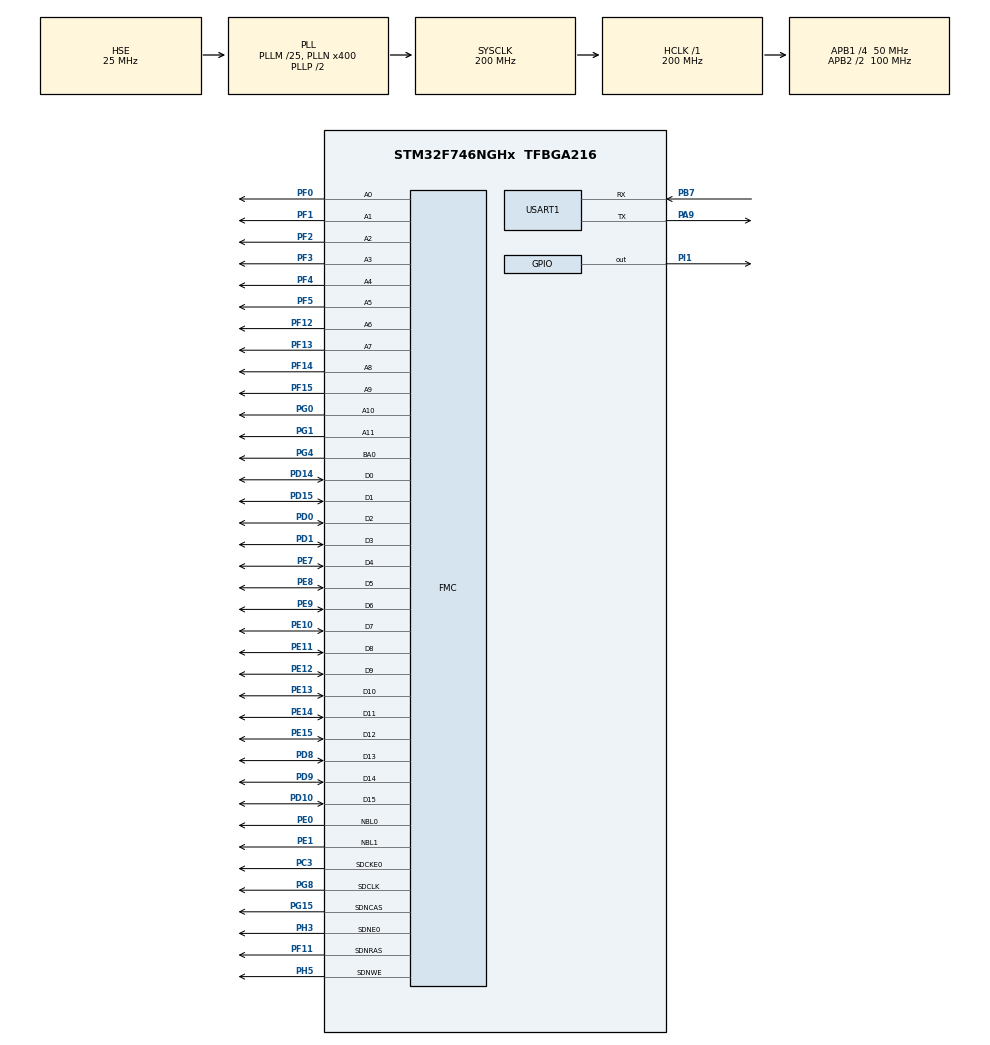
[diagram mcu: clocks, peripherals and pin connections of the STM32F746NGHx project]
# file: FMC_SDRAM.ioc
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CORTEX_M7.AccessPermission-Cortex_Memory_Protection_Unit_Region0_Settings=MPU_REGION_FULL_ACCESS
CORTEX_M7.BaseAddress-Cortex_Memory_Protection_Unit_Region0_Settings=0x20010000
CORTEX_M7.CPU_DCache=Enabled
CORTEX_M7.CPU_ICache=Enabled
CORTEX_M7.Enable-Cortex_Memory_Protection_Unit_Region0_Settings=MPU_REGION_ENABLE
CORTEX_M7.IsCacheable-Cortex_Memory_Protection_Unit_Region0_Settings=MPU_ACCESS_CACHEABLE
CORTEX_M7.MPU_Control=MPU_PRIVILEGED_DEFAULT
CORTEX_M7.Size-Cortex_Memory_Protection_Unit_Region0_Settings=MPU_REGION_SIZE_256B
FMC.CASLatency1=FMC_SDRAM_CAS_LATENCY_2
FMC.ExitSelfRefreshDelay1=6
FMC.LoadToActiveDelay1=2
FMC.RCDDelay1=2
FMC.RPDelay1=2
FMC.RPDelay2=2
FMC.ReadBurst1=FMC_SDRAM_RBURST_ENABLE
FMC.ReadBurst2=FMC_SDRAM_RBURST_ENABLE
FMC.RowCycleDelay1=6
FMC.RowCycleDelay2=6
FMC.SDClockPeriod1=FMC_SDRAM_CLOCK_PERIOD_2
FMC.SDClockPeriod2=FMC_SDRAM_CLOCK_PERIOD_2
FMC.SelfRefreshTime1=4
FMC.WriteRecoveryTime1=2
Mcu.Family=STM32F7
Mcu.Name=STM32F746NGHx
Mcu.Package=TFBGA216
NVIC.PriorityGroup=NVIC_PRIORITYGROUP_4
PA13.Mode=Serial_Wire
PA13.Signal=SYS_JTMS-SWDIO
PA14.Mode=Serial_Wire
PA14.Signal=SYS_JTCK-SWCLK
PA9.Mode=Asynchronous
PA9.Signal=USART1_TX
PB7.Mode=Asynchronous
PB7.Signal=USART1_RX
PC3.Mode=SdramChipSelect1_1
PC3.Signal=FMC_SDCKE0
PD0.Signal=FMC_D2_DA2
PD1.Signal=FMC_D3_DA3
PD10.Signal=FMC_D15_DA15
PD14.Signal=FMC_D0_DA0
PD15.Signal=FMC_D1_DA1
PD8.Signal=FMC_D13_DA13
PD9.Signal=FMC_D14_DA14
PE0.Signal=FMC_NBL0
PE1.Signal=FMC_NBL1
PE10.Signal=FMC_D7_DA7
PE11.Signal=FMC_D8_DA8
PE12.Signal=FMC_D9_DA9
PE13.Signal=FMC_D10_DA10
PE14.Signal=FMC_D11_DA11
PE15.Signal=FMC_D12_DA12
PE7.Signal=FMC_D4_DA4
PE8.Signal=FMC_D5_DA5
PE9.Signal=FMC_D6_DA6
PF0.Signal=FMC_A0
PF1.Signal=FMC_A1
PF11.Signal=FMC_SDNRAS
PF12.Signal=FMC_A6
PF13.Signal=FMC_A7
PF14.Signal=FMC_A8
PF15.Signal=FMC_A9
PF2.Signal=FMC_A2
PF3.Signal=FMC_A3
PF4.Signal=FMC_A4
PF5.Signal=FMC_A5
PG0.Signal=FMC_A10
PG1.Signal=FMC_A11
PG15.Signal=FMC_SDNCAS
PG4.Signal=FMC_A14_BA0
PG8.Signal=FMC_SDCLK
PH0/OSC_IN.Mode=HSE-External-Oscillator
PH0/OSC_IN.Signal=RCC_OSC_IN
PH1/OSC_OUT.Mode=HSE-External-Oscillator
PH1/OSC_OUT.Signal=RCC_OSC_OUT
PH3.Mode=SdramChipSelect1_1
PH3.Signal=FMC_SDNE0
PH5.Signal=FMC_SDNWE
PI1.Signal=GPIO_Output
ProjectManager.HeapSize=0x2000
ProjectManager.StackSize=0x4000
ProjectManager.TargetToolchain=MDK-ARM V5
RCC.AHBFreq_Value=200000000
RCC.APB1CLKDivider=RCC_HCLK_DIV4
RCC.APB1Freq_Value=50000000
RCC.APB1TimFreq_Value=100000000
RCC.APB2CLKDivider=RCC_HCLK_DIV2
RCC.APB2Freq_Value=100000000
RCC.APB2TimFreq_Value=200000000
RCC.CortexFreq_Value=200000000
RCC.HCLKFreq_Value=200000000
RCC.HSE_VALUE=25000000
RCC.HSI_VALUE=16000000
RCC.PLL48CLockSelection=RCC_CLK48SOURCE_PLLSAIP
RCC.PLLI2SN=100
RCC.PLLM=25
RCC.PLLN=400
RCC.PLLQ=9
RCC.PLLSAIN=384
RCC.PLLSAIP=RCC_PLLSAIP_DIV8
RCC.PLLSAIR=5
RCC.PLLSAIRDiv=RCC_PLLSAIDIVR_8
RCC.PLLSourceVirtual=RCC_PLLSOURCE_HSE
RCC.SDMMCClockSelection=RCC_SDMMC1CLKSOURCE_CLK48
RCC.SYSCLKFreq_VALUE=200000000
RCC.SYSCLKSource=RCC_SYSCLKSOURCE_PLLCLK
RCC.USBFreq_Value=48000000
RCC.VCOOutputFreq_Value=400000000
SH.FMC_A0.0=FMC_A0,12b-sda1
SH.FMC_A1.0=FMC_A1,12b-sda1
SH.FMC_A10.0=FMC_A10,12b-sda1
SH.FMC_A11.0=FMC_A11,12b-sda1
SH.FMC_A14_BA0.0=FMC_BA0,TwoSdramBanks1
SH.FMC_A2.0=FMC_A2,12b-sda1
SH.FMC_A3.0=FMC_A3,12b-sda1
SH.FMC_A4.0=FMC_A4,12b-sda1
SH.FMC_A5.0=FMC_A5,12b-sda1
SH.FMC_A6.0=FMC_A6,12b-sda1
SH.FMC_A7.0=FMC_A7,12b-sda1
SH.FMC_A8.0=FMC_A8,12b-sda1
SH.FMC_A9.0=FMC_A9,12b-sda1
SH.FMC_D0_DA0.0=FMC_D0,sd-16b-d1
SH.FMC_D10_DA10.0=FMC_D10,sd-16b-d1
SH.FMC_D11_DA11.0=FMC_D11,sd-16b-d1
SH.FMC_D12_DA12.0=FMC_D12,sd-16b-d1
SH.FMC_D13_DA13.0=FMC_D13,sd-16b-d1
SH.FMC_D14_DA14.0=FMC_D14,sd-16b-d1
SH.FMC_D15_DA15.0=FMC_D15,sd-16b-d1
SH.FMC_D1_DA1.0=FMC_D1,sd-16b-d1
SH.FMC_D2_DA2.0=FMC_D2,sd-16b-d1
SH.FMC_D3_DA3.0=FMC_D3,sd-16b-d1
SH.FMC_D4_DA4.0=FMC_D4,sd-16b-d1
SH.FMC_D5_DA5.0=FMC_D5,sd-16b-d1
SH.FMC_D6_DA6.0=FMC_D6,sd-16b-d1
SH.FMC_D7_DA7.0=FMC_D7,sd-16b-d1
SH.FMC_D8_DA8.0=FMC_D8,sd-16b-d1
SH.FMC_D9_DA9.0=FMC_D9,sd-16b-d1
SH.FMC_NBL0.0=FMC_NBL0,Sd2ByteEnable1
SH.FMC_NBL1.0=FMC_NBL1,Sd2ByteEnable1
SH.FMC_SDCLK.0=FMC_SDCLK,12b-sda1
SH.FMC_SDNCAS.0=FMC_SDNCAS,12b-sda1
SH.FMC_SDNRAS.0=FMC_SDNRAS,12b-sda1
SH.FMC_SDNWE.0=FMC_SDNWE,12b-sda1
USART1.VirtualMode-Asynchronous=VM_ASYNC
board=32F746GDISCOVERY

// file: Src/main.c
/**
  ******************************************************************************
  * @file           : main.c
  * @brief          : Main program body
  ******************************************************************************
  ** This notice applies to any and all portions of this file
  * that are not between comment pairs USER CODE BEGIN and
  * USER CODE END. Other portions of this file, whether
  * inserted by the user or by software development tools
  * are owned by their respective copyright owners.
  *
  * COPYRIGHT(c) 2018 STMicroelectronics
  *
  * Redistribution and use in source and binary forms, with or without modification,
  * are permitted provided that the following conditions are met:
  *   1. Redistributions of source code must retain the above copyright notice,
  *      this list of conditions and the following disclaimer.
  *   2. Redistributions in binary form must reproduce the above copyright notice,
  *      this list of conditions and the following disclaimer in the documentation
  *      and/or other materials provided with the distribution.
  *   3. Neither the name of STMicroelectronics nor the names of its contributors
  *      may be used to endorse or promote products derived from this software
  *      without specific prior written permission.
  *
  * THIS SOFTWARE IS PROVIDED BY THE COPYRIGHT HOLDERS AND CONTRIBUTORS "AS IS"
  * AND ANY EXPRESS OR IMPLIED WARRANTIES, INCLUDING, BUT NOT LIMITED TO, THE
  * IMPLIED WARRANTIES OF MERCHANTABILITY AND FITNESS FOR A PARTICULAR PURPOSE ARE
  * DISCLAIMED. IN NO EVENT SHALL THE COPYRIGHT HOLDER OR CONTRIBUTORS BE LIABLE
  * FOR ANY DIRECT, INDIRECT, INCIDENTAL, SPECIAL, EXEMPLARY, OR CONSEQUENTIAL
  * DAMAGES (INCLUDING, BUT NOT LIMITED TO, PROCUREMENT OF SUBSTITUTE GOODS OR
  * SERVICES; LOSS OF USE, DATA, OR PROFITS; OR BUSINESS INTERRUPTION) HOWEVER
  * CAUSED AND ON ANY THEORY OF LIABILITY, WHETHER IN CONTRACT, STRICT LIABILITY,
  * OR TORT (INCLUDING NEGLIGENCE OR OTHERWISE) ARISING IN ANY WAY OUT OF THE USE
  * OF THIS SOFTWARE, EVEN IF ADVISED OF THE POSSIBILITY OF SUCH DAMAGE.
  *
  ******************************************************************************
  */
#include "main.h"
#include "stm32f7xx_hal.h"
#include "string.h"
#include "MT48LC4M32B2.h"

/* USER CODE BEGIN Includes */
#define SDRAM_BANK_ADDR                 ((uint32_t)0xC0000000)
#define BUFFER_SIZE         ((uint32_t)0x0100)
#define WRITE_READ_ADDR     ((uint32_t)0x0800)
uint32_t aTxBuffer[BUFFER_SIZE];
uint32_t aRxBuffer[BUFFER_SIZE];
uint32_t uwIndex = 0;
/* USER CODE END Includes */

UART_HandleTypeDef huart1;

SDRAM_HandleTypeDef hsdram1;

/* USER CODE BEGIN PV */
/* Private variables ---------------------------------------------------------*/

/* USER CODE END PV */

void SystemClock_Config(void);
static void MPU_Config(void);
static void MX_GPIO_Init(void);
static void MX_USART1_UART_Init(void);
static void MX_FMC_Init(void);

/* USER CODE BEGIN PFP */
/* Private function prototypes -----------------------------------------------*/

/* USER CODE END PFP */

/* USER CODE BEGIN 0 */

/*******************************Функция записи в буффер*****************************************/
static void Fill_Buffer(uint32_t *pBuffer, uint32_t uwBufferLenght, uint32_t uwOffset)
{

 uint32_t tmpIndex = 0;
  /* Put in global buffer different values */
  for (tmpIndex = 0; tmpIndex < uwBufferLenght; tmpIndex++ )
  {
    pBuffer[tmpIndex] = tmpIndex + uwOffset;
  }
}

void Test_LED(void)
{
	HAL_GPIO_WritePin(GPIOI, GPIO_PIN_1, GPIO_PIN_RESET);
    HAL_Delay(500);
    HAL_GPIO_WritePin(GPIOI, GPIO_PIN_1, GPIO_PIN_SET);
    HAL_Delay(500);
}
/* USER CODE END 0 */

int main(void)
{
  /* USER CODE BEGIN 1 */
	char str1[100];
  /* USER CODE END 1 */

  /* MPU Configuration----------------------------------------------------------*/
  MPU_Config();

  /* Enable I-Cache-------------------------------------------------------------*/
  SCB_EnableICache();

  /* Enable D-Cache-------------------------------------------------------------*/
  SCB_EnableDCache();

  /* MCU Configuration----------------------------------------------------------*/

  /* Reset of all peripherals, Initializes the Flash interface and the Systick. */
  HAL_Init();

  /* Configure the system clock */
  SystemClock_Config();

  /* Initialize all configured peripherals */
  MX_GPIO_Init();
  MX_USART1_UART_Init();
  MX_FMC_Init();
  /* USER CODE BEGIN 2 */
	Test_LED();
	MT48LC4M32B2_Init();
	Fill_Buffer(aTxBuffer, BUFFER_SIZE, 0x37BA0F68);

	 /* **************************Запись в память***************** */
	 //запишем данные из буфера в память SDRAM с адреса 0xC0000800

  for (uwIndex = 0; uwIndex < BUFFER_SIZE; uwIndex++)
  {
    *(__IO uint32_t*) (SDRAM_BANK_ADDR + WRITE_READ_ADDR + 4*uwIndex) = aTxBuffer[uwIndex];
  }
 /* *********************************************************** */
   //прочитаем в другой буфер данные из памяти SDRAM с адреса 0xC0000800
  for (uwIndex = 0; uwIndex < BUFFER_SIZE; uwIndex++)
  {
    aRxBuffer[uwIndex] = *(__IO uint32_t*) (SDRAM_BANK_ADDR + WRITE_READ_ADDR + 4*uwIndex);
  }
  //отправим байты в USART

  for (uwIndex = 0; uwIndex < BUFFER_SIZE; uwIndex++)
  {
  sprintf(str1,"%03ld: 0x%08lX\r\n",(unsigned long) uwIndex,(unsigned long)aRxBuffer[uwIndex]);
  HAL_UART_Transmit(&huart1, (uint8_t*)str1,strlen(str1),0x1000);
  HAL_Delay(100);
  }

  /* USER CODE END 2 */

  /* Infinite loop */
  while (1)
  {

  }

}

void SystemClock_Config(void)
{

  RCC_OscInitTypeDef RCC_OscInitStruct;
  RCC_ClkInitTypeDef RCC_ClkInitStruct;
  RCC_PeriphCLKInitTypeDef PeriphClkInitStruct;

    /**Configure the main internal regulator output voltage
    */
  __HAL_RCC_PWR_CLK_ENABLE();

  __HAL_PWR_VOLTAGESCALING_CONFIG(PWR_REGULATOR_VOLTAGE_SCALE1);

    /**Initializes the CPU, AHB and APB busses clocks
    */
  RCC_OscInitStruct.OscillatorType = RCC_OSCILLATORTYPE_HSE;
  RCC_OscInitStruct.HSEState = RCC_HSE_ON;
  RCC_OscInitStruct.PLL.PLLState = RCC_PLL_ON;
  RCC_OscInitStruct.PLL.PLLSource = RCC_PLLSOURCE_HSE;
  RCC_OscInitStruct.PLL.PLLM = 25;
  RCC_OscInitStruct.PLL.PLLN = 400;
  RCC_OscInitStruct.PLL.PLLP = RCC_PLLP_DIV2;
  RCC_OscInitStruct.PLL.PLLQ = 9;
  if (HAL_RCC_OscConfig(&RCC_OscInitStruct) != HAL_OK)
  {
    _Error_Handler(__FILE__, __LINE__);
  }

    /**Activate the Over-Drive mode
    */
  if (HAL_PWREx_EnableOverDrive() != HAL_OK)
  {
    _Error_Handler(__FILE__, __LINE__);
  }

    /**Initializes the CPU, AHB and APB busses clocks
    */
  RCC_ClkInitStruct.ClockType = RCC_CLOCKTYPE_HCLK|RCC_CLOCKTYPE_SYSCLK
                              |RCC_CLOCKTYPE_PCLK1|RCC_CLOCKTYPE_PCLK2;
  RCC_ClkInitStruct.SYSCLKSource = RCC_SYSCLKSOURCE_PLLCLK;
  RCC_ClkInitStruct.AHBCLKDivider = RCC_SYSCLK_DIV1;
  RCC_ClkInitStruct.APB1CLKDivider = RCC_HCLK_DIV4;
  RCC_ClkInitStruct.APB2CLKDivider = RCC_HCLK_DIV2;

  if (HAL_RCC_ClockConfig(&RCC_ClkInitStruct, FLASH_LATENCY_6) != HAL_OK)
  {
    _Error_Handler(__FILE__, __LINE__);
  }

  PeriphClkInitStruct.PeriphClockSelection = RCC_PERIPHCLK_USART1;
  PeriphClkInitStruct.Usart1ClockSelection = RCC_USART1CLKSOURCE_PCLK2;
  if (HAL_RCCEx_PeriphCLKConfig(&PeriphClkInitStruct) != HAL_OK)
  {
    _Error_Handler(__FILE__, __LINE__);
  }

    /**Configure the Systick interrupt time
    */
  HAL_SYSTICK_Config(HAL_RCC_GetHCLKFreq()/1000);

    /**Configure the Systick
    */
  HAL_SYSTICK_CLKSourceConfig(SYSTICK_CLKSOURCE_HCLK);

  /* SysTick_IRQn interrupt configuration */
  HAL_NVIC_SetPriority(SysTick_IRQn, 0, 0);
}

/* USART1 init function */
static void MX_USART1_UART_Init(void)
{

  huart1.Instance = USART1;
  huart1.Init.BaudRate = 115200;
  huart1.Init.WordLength = UART_WORDLENGTH_7B;
  huart1.Init.StopBits = UART_STOPBITS_1;
  huart1.Init.Parity = UART_PARITY_NONE;
  huart1.Init.Mode = UART_MODE_TX_RX;
  huart1.Init.HwFlowCtl = UART_HWCONTROL_NONE;
  huart1.Init.OverSampling = UART_OVERSAMPLING_16;
  huart1.Init.OneBitSampling = UART_ONE_BIT_SAMPLE_DISABLE;
  huart1.AdvancedInit.AdvFeatureInit = UART_ADVFEATURE_NO_INIT;
  if (HAL_UART_Init(&huart1) != HAL_OK)
  {
    _Error_Handler(__FILE__, __LINE__);
  }

}

/* FMC initialization function */
static void MX_FMC_Init(void)
{
  FMC_SDRAM_TimingTypeDef SdramTiming;

  /** Perform the SDRAM1 memory initialization sequence
  */
  hsdram1.Instance = FMC_SDRAM_DEVICE;
  /* hsdram1.Init */
  hsdram1.Init.SDBank = FMC_SDRAM_BANK1;
  hsdram1.Init.ColumnBitsNumber = FMC_SDRAM_COLUMN_BITS_NUM_8;
  hsdram1.Init.RowBitsNumber = FMC_SDRAM_ROW_BITS_NUM_12;
  hsdram1.Init.MemoryDataWidth = FMC_SDRAM_MEM_BUS_WIDTH_16;
  hsdram1.Init.InternalBankNumber = FMC_SDRAM_INTERN_BANKS_NUM_2;
  hsdram1.Init.CASLatency = FMC_SDRAM_CAS_LATENCY_2;
  hsdram1.Init.WriteProtection = FMC_SDRAM_WRITE_PROTECTION_DISABLE;
  hsdram1.Init.SDClockPeriod = FMC_SDRAM_CLOCK_PERIOD_2;
  hsdram1.Init.ReadBurst = FMC_SDRAM_RBURST_ENABLE;
  hsdram1.Init.ReadPipeDelay = FMC_SDRAM_RPIPE_DELAY_0;
  /* SdramTiming */
  SdramTiming.LoadToActiveDelay = 2;
  SdramTiming.ExitSelfRefreshDelay = 6;
  SdramTiming.SelfRefreshTime = 4;
  SdramTiming.RowCycleDelay = 6;
  SdramTiming.WriteRecoveryTime = 2;
  SdramTiming.RPDelay = 2;
  SdramTiming.RCDDelay = 2;

  if (HAL_SDRAM_Init(&hsdram1, &SdramTiming) != HAL_OK)
  {
    _Error_Handler(__FILE__, __LINE__);
  }

}

/** Configure pins as
        * Analog
        * Input
        * Output
        * EVENT_OUT
        * EXTI
*/
static void MX_GPIO_Init(void)
{

  GPIO_InitTypeDef GPIO_InitStruct;

  /* GPIO Ports Clock Enable */
  __HAL_RCC_GPIOE_CLK_ENABLE();
  __HAL_RCC_GPIOA_CLK_ENABLE();
  __HAL_RCC_GPIOB_CLK_ENABLE();
  __HAL_RCC_GPIOG_CLK_ENABLE();
  __HAL_RCC_GPIOD_CLK_ENABLE();
  __HAL_RCC_GPIOF_CLK_ENABLE();
  __HAL_RCC_GPIOI_CLK_ENABLE();
  __HAL_RCC_GPIOH_CLK_ENABLE();
  __HAL_RCC_GPIOC_CLK_ENABLE();

  /*Configure GPIO pin Output Level */
  HAL_GPIO_WritePin(GPIOI, GPIO_PIN_1, GPIO_PIN_RESET);

  /*Configure GPIO pin : PI1 */
  GPIO_InitStruct.Pin = GPIO_PIN_1;
  GPIO_InitStruct.Mode = GPIO_MODE_OUTPUT_PP;
  GPIO_InitStruct.Pull = GPIO_NOPULL;
  GPIO_InitStruct.Speed = GPIO_SPEED_FREQ_LOW;
  HAL_GPIO_Init(GPIOI, &GPIO_InitStruct);

}

/* MPU Configuration */

void MPU_Config(void)
{
  MPU_Region_InitTypeDef MPU_InitStruct;

  /* Disables the MPU */
  HAL_MPU_Disable();
    /**Initializes and configures the Region and the memory to be protected
    */
  MPU_InitStruct.Enable = MPU_REGION_ENABLE;
  MPU_InitStruct.Number = MPU_REGION_NUMBER0;
  MPU_InitStruct.BaseAddress = 0x20010000;
  MPU_InitStruct.Size = MPU_REGION_SIZE_256B;
  MPU_InitStruct.SubRegionDisable = 0x0;
  MPU_InitStruct.TypeExtField = MPU_TEX_LEVEL0;
  MPU_InitStruct.AccessPermission = MPU_REGION_FULL_ACCESS;
  MPU_InitStruct.DisableExec = MPU_INSTRUCTION_ACCESS_ENABLE;
  MPU_InitStruct.IsShareable = MPU_ACCESS_NOT_SHAREABLE;
  MPU_InitStruct.IsCacheable = MPU_ACCESS_CACHEABLE;
  MPU_InitStruct.IsBufferable = MPU_ACCESS_NOT_BUFFERABLE;

  HAL_MPU_ConfigRegion(&MPU_InitStruct);

  /* Enables the MPU */
  HAL_MPU_Enable(MPU_PRIVILEGED_DEFAULT);

}

void _Error_Handler(char *file, int line)
{
  while(1)
  {
  }
}

/************************ (C) COPYRIGHT STMicroelectronics *****END OF FILE****/
